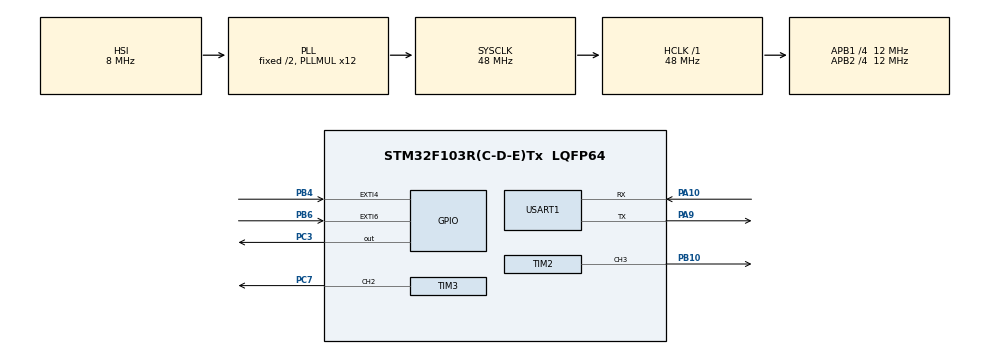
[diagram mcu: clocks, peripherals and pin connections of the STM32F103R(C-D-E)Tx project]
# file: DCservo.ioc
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Mcu.Family=STM32F1
Mcu.Name=STM32F103R(C-D-E)Tx
Mcu.Package=LQFP64
NVIC.EXTI4_IRQn=true\:0\:0\:false\:false\:true\:true\:true
NVIC.EXTI9_5_IRQn=true\:0\:0\:false\:false\:true\:true\:true
NVIC.PriorityGroup=NVIC_PRIORITYGROUP_4
NVIC.TIM4_IRQn=true\:0\:0\:false\:false\:true\:true\:true
NVIC.TIM5_IRQn=true\:0\:0\:false\:false\:true\:true\:true
NVIC.USART1_IRQn=true\:0\:0\:false\:false\:true\:true\:true
PA10.Mode=Asynchronous
PA10.Signal=USART1_RX
PA13.Mode=Serial_Wire
PA13.Signal=SYS_JTMS-SWDIO
PA14.Mode=Serial_Wire
PA14.Signal=SYS_JTCK-SWCLK
PA9.Mode=Asynchronous
PA9.Signal=USART1_TX
PB10.Signal=S_TIM2_CH3
PB4.GPIO_ModeDefaultEXTI=GPIO_MODE_IT_RISING_FALLING
PB4.GPIO_PuPd=GPIO_PULLUP
PB4.Signal=GPXTI4
PB6.GPIO_ModeDefaultEXTI=GPIO_MODE_IT_RISING_FALLING
PB6.GPIO_PuPd=GPIO_PULLUP
PB6.Signal=GPXTI6
PC3.GPIO_PuPd=GPIO_NOPULL
PC3.Signal=GPIO_Output
PC7.Signal=S_TIM3_CH2
ProjectManager.HeapSize=0x200
ProjectManager.StackSize=0x400
ProjectManager.TargetToolchain=MDK-ARM V5
RCC.AHBFreq_Value=48000000
RCC.APB1CLKDivider=RCC_HCLK_DIV4
RCC.APB1Freq_Value=12000000
RCC.APB1TimFreq_Value=24000000
RCC.APB2CLKDivider=RCC_HCLK_DIV4
RCC.APB2Freq_Value=12000000
RCC.APB2TimFreq_Value=24000000
RCC.HCLKFreq_Value=48000000
RCC.PLLMUL=RCC_PLL_MUL12
RCC.SYSCLKFreq_VALUE=48000000
RCC.SYSCLKSource=RCC_SYSCLKSOURCE_PLLCLK
RCC.USBFreq_Value=48000000
SH.S_TIM2_CH3.0=TIM2_CH3,PWM Generation3 CH3
SH.S_TIM3_CH2.0=TIM3_CH2,PWM Generation2 CH2
TIM2.Channel-PWM\ Generation3\ CH3=TIM_CHANNEL_3
TIM2.Period=100
TIM2.Prescaler=11
TIM3.Channel-PWM\ Generation2\ CH2=TIM_CHANNEL_2
TIM3.Period=100
TIM3.Prescaler=11
TIM4.Period=4
TIM4.Prescaler=23999
TIM5.Period=9
TIM5.Prescaler=23999
USART1.VirtualMode=VM_ASYNC
VP_TIM4_VS_ClockSourceINT.Mode=Internal
VP_TIM5_VS_ClockSourceINT.Mode=Internal
board=custom

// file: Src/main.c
/*
* File: main.c
* Author: Nguyen Thi Ngoc Quyen
* Date: 05/10/2023
* Description: This file is used to control velocity by using PI controller
*/
#include "main.h"
#include "string.h"
#include "stdio.h"
#include "stdlib.h"
#include "stdbool.h"

#define pi 3.1415
#define p2r pi/1000

TIM_HandleTypeDef htim2;
TIM_HandleTypeDef htim3;
TIM_HandleTypeDef htim4;
TIM_HandleTypeDef htim5;

UART_HandleTypeDef huart1;

/* USER CODE BEGIN PV */
int32_t Cnttmp,speed;
int16_t CountValue=0,RealVel,DesiredSpeed,HILIM,LOLIM;
uint16_t CntVel;
uint8_t PreviousState,pwm,Speedmode,tick=0;
bool run=false, dir;
float CurVel;
char Rx_indx, Rx_Buffer[20],Rx_data[2];

/*parameter of PI controller*/
float DesiredVel = 0;
float err, err_reset= 0, uP, uI,uI_p, uOut;
float Kp =0.3582; //0.395
float Ki =9.606;  //8.2983
float Kb =25.147; //0.1
float Ts = 0.005; // thoi gian lay mau

int32_t uHiLim =100;
int32_t uLoLim = 0;

/* USER CODE END PV */

void SystemClock_Config(void);
static void MX_GPIO_Init(void);
static void MX_TIM2_Init(void);
static void MX_TIM3_Init(void);
static void MX_USART1_UART_Init(void);
static void MX_TIM4_Init(void);
static void MX_TIM5_Init(void);
/* USER CODE BEGIN PFP */
void HAL_TIM_MspPostInit(TIM_HandleTypeDef *htim);

struct __FILE
{
  int handle;
  /* Whatever you require here. If the only file you are using is */
  /* standard output using printf() for debugging, no file handling */
  /* is required. */
};
/* FILE is typedef’d in stdio.h. */
FILE __stdout;
int fputc(int ch, FILE *f)
{

	char tempch;
  HAL_UART_Transmit(&huart1, (uint8_t*)&ch,1,100);
		return ch;
}

/*
* Function: PIcontrol
* Description: This function is PI controller, is used to control velocity according to disired value.
* Input:
*		None
* Output:
*		None return
*/
void PIcontrol(void){

 err = DesiredVel - CurVel;
	uI = uI_p + Ki*Ts*err + Kb*Ts*err_reset;
	uI_p = uI;
	uOut= (int)(uP+uI);

	//ham chan
	 if(uOut > uHiLim)
	 {
		 err_reset = uHiLim - uOut;
		 uOut = uHiLim;
	 }
	 else if(uOut < uLoLim)
	 {
		 err_reset = uLoLim - uOut;
		 uOut = uLoLim;
	 }
	 //ham run dong co
	 if(uOut >0)
	 {
		 HAL_GPIO_WritePin(GPIOC, GPIO_PIN_3, GPIO_PIN_SET);
		 __HAL_TIM_SetCompare(&htim3,TIM_CHANNEL_2,uOut);

	}
	else if(uOut <0)
	{
		HAL_GPIO_WritePin(GPIOC, GPIO_PIN_3, GPIO_PIN_SET);
		__HAL_TIM_SetCompare(&htim3,TIM_CHANNEL_2,-uOut);
	}
	else
	{
		HAL_GPIO_WritePin(GPIOC, GPIO_PIN_3, GPIO_PIN_SET);
		__HAL_TIM_SetCompare(&htim3,TIM_CHANNEL_2,00);
	}
}
/*
* Function: HAL_UART_RxCpltCallback
* Description: This function is used to communicate with RS232-USB, receive velocity value from GUI to calulate.
* Input:
*		huart - type uart that you use
* Output:
*		none
*/
void HAL_UART_RxCpltCallback(UART_HandleTypeDef *huart){
		uint8_t i;
		if(huart->Instance == USART1) //uart1
		{
				if(Rx_indx==0) {for (i=0;i<20;i++) Rx_Buffer[i] = 0;}

		switch(Rx_data[0]) {
            /* dung dong co */
            case 'e':
                run =false;
                break;
            /* dong co chay */
            case 'r':
                run = true;
                break;
            case 'b':
//		reset();
		break;
            case 'v':
                DesiredSpeed = atoi(Rx_Buffer); //nhan tu C#, Pos = 10rpm
		DesiredVel = DesiredSpeed*2*3.1415/60; //tuwf rpm sang rad/s
                memset(Rx_Buffer, 0, sizeof(Rx_Buffer));
                Rx_indx = 0;
                break;
            case '0':
            case '1':
            case '2':
            case '3':
            case '4':
            case '5':
            case '6':
            case '7':
            case '8':
            case '9':
            case '.':
            case '-':
                Rx_Buffer[Rx_indx++] |= Rx_data[0];
                break;
            default:
                break;
        }
		HAL_UART_Receive_IT(&huart1,(uint8_t*)Rx_data,1);
		}
	}

/*
* Function: EXTI9_5_IRQHandler
* Description: This function is used to read pulse of motor in 4x mode with line 6
* Input:
*		none
* Output:
*		none
*/
void EXTI9_5_IRQHandler(void){
  /* USER CODE BEGIN EXTI9_5_IRQn 0 */
unsigned char State0;
	State0 = (State0<<1) | HAL_GPIO_ReadPin(GPIOB, GPIO_PIN_4);
	State0 = (State0<<1) | HAL_GPIO_ReadPin(GPIOB, GPIO_PIN_6);
	State0 = State0&0x03;
	switch (State0) {
	case 0:
		if(PreviousState==1) CountValue++;
		else CountValue--;
		break;
	case 1:
		if(PreviousState==3) CountValue++;
		else CountValue--;
		break;
	case 2:
		if(PreviousState==0) CountValue++;
		else CountValue--;
		break;
	case 3:
		if(PreviousState==2) CountValue++;
		else CountValue--;
		break;
	}
	PreviousState = State0;
	CntVel++;
	if (CountValue>=2000) {
		CountValue = 0;
	}
	else if	(CountValue<=-2000) {
		CountValue = 0;
	}
  /* USER CODE END EXTI4_IRQn 0 */
  HAL_GPIO_EXTI_IRQHandler(GPIO_PIN_6);
  /* USER CODE BEGIN EXTI4_IRQn 1 */
}

/**
* @brief This function handles EXTI line3 interrupt.
*/
/*
* Function: EXTI4_IRQHandler
* Description: This function is used to read pulse of motor in 4x mode with line 4
* Input:
*		none
* Output:
*		none
*/
void EXTI4_IRQHandler(void){
  /* USER CODE BEGIN EXTI4_IRQn 0 */
	// CHANNEL A
unsigned char State1;
	State1 = (State1<<1) | HAL_GPIO_ReadPin(GPIOB, GPIO_PIN_4);
	State1 = (State1<<1) | HAL_GPIO_ReadPin(GPIOB, GPIO_PIN_6);
	State1 = State1&0x03;
	switch (State1) {
	case 0:
		if(PreviousState==1) CountValue++;
		else CountValue--;
		break;
	case 1:
		if(PreviousState==3) CountValue++;
		else CountValue--;
		break;
	case 2:
		if(PreviousState==0) CountValue++;
		else CountValue--;
		break;
	case 3:
		if(PreviousState==2) CountValue++;
		else CountValue--;
		break;
	}
	PreviousState = State1;
	CntVel++;
	if (CountValue>=2000) {
		CountValue = 0;
	}
	else if	(CountValue<=-2000) {
		CountValue = 0;
	}
  /* USER CODE END EXTI3_IRQn 0 */
  HAL_GPIO_EXTI_IRQHandler(GPIO_PIN_4);
}
/*
* Function: HAL_TIM_PeriodElapsedCallback
* Description: This function is used to caculate velocity and plot velocity of motor on uart
* Input:
*		htim - reference to type timer (4,5 depend on function)
* Output:
*		none return
*/
void HAL_TIM_PeriodElapsedCallback(TIM_HandleTypeDef *htim) {	// ngat timer 4 tinh van toc
	if(htim->Instance==TIM4)	// ngat do timer 4	5ms
	{
		Cnttmp = CntVel;
		CntVel = 0;
		RealVel = (Cnttmp*60)/(Ts*2000);										//RPM
		CurVel = Cnttmp*2*pi/10;								//rad/s
		PIcontrol();
		return;
	}
	if(htim->Instance==TIM5)//timer5 1ms
	{
			tick++;
			if ((run==1)&&(tick==5)){
				tick=0;
				printf("V%d\r \n",RealVel);
			}
	}

}
/* USER CODE END 0 */

int main(void)
{

  /* MCU Configuration--------------------------------------------------------*/

  /* Reset of all peripherals, Initializes the Flash interface and the Systick. */
  HAL_Init();

  /* Configure the system clock */
  SystemClock_Config();

  /* Initialize all configured peripherals */
  MX_GPIO_Init();
  MX_TIM2_Init();
  MX_TIM3_Init();
  MX_USART1_UART_Init();
  MX_TIM4_Init();
  MX_TIM5_Init();
  /* USER CODE BEGIN 2 */
	HAL_TIM_PWM_Start(&htim2, TIM_CHANNEL_3);	// khoi tao timer 2
	HAL_TIM_PWM_Start(&htim3, TIM_CHANNEL_2);	// khoi tao timer 3
	HAL_TIM_Base_Start_IT(&htim4);						// khoi tao timer 4
	HAL_TIM_Base_Start_IT(&htim5);						// khoi tao timer 5
	HAL_UART_Receive_IT(&huart1,(uint8_t*)Rx_data,1);
  /* USER CODE END 2 */

  /* Infinite loop */
  while (1)
  {

  }
}

void SystemClock_Config(void)
{
  RCC_OscInitTypeDef RCC_OscInitStruct = {0};
  RCC_ClkInitTypeDef RCC_ClkInitStruct = {0};

  /**Initializes the CPU, AHB and APB busses clocks
  */
  RCC_OscInitStruct.OscillatorType = RCC_OSCILLATORTYPE_HSI;
  RCC_OscInitStruct.HSIState = RCC_HSI_ON;
  RCC_OscInitStruct.HSICalibrationValue = RCC_HSICALIBRATION_DEFAULT;
  RCC_OscInitStruct.PLL.PLLState = RCC_PLL_ON;
  RCC_OscInitStruct.PLL.PLLSource = RCC_PLLSOURCE_HSI_DIV2;
  RCC_OscInitStruct.PLL.PLLMUL = RCC_PLL_MUL12;
  if (HAL_RCC_OscConfig(&RCC_OscInitStruct) != HAL_OK)
  {
    Error_Handler();
  }
  /**Initializes the CPU, AHB and APB busses clocks
  */
  RCC_ClkInitStruct.ClockType = RCC_CLOCKTYPE_HCLK|RCC_CLOCKTYPE_SYSCLK
                              |RCC_CLOCKTYPE_PCLK1|RCC_CLOCKTYPE_PCLK2;
  RCC_ClkInitStruct.SYSCLKSource = RCC_SYSCLKSOURCE_PLLCLK;
  RCC_ClkInitStruct.AHBCLKDivider = RCC_SYSCLK_DIV1;
  RCC_ClkInitStruct.APB1CLKDivider = RCC_HCLK_DIV4;
  RCC_ClkInitStruct.APB2CLKDivider = RCC_HCLK_DIV4;

  if (HAL_RCC_ClockConfig(&RCC_ClkInitStruct, FLASH_LATENCY_1) != HAL_OK)
  {
    Error_Handler();
  }
}

static void MX_TIM2_Init(void)
{

  TIM_MasterConfigTypeDef sMasterConfig = {0};
  TIM_OC_InitTypeDef sConfigOC = {0};

  htim2.Instance = TIM2;
  htim2.Init.Prescaler = 11;
  htim2.Init.CounterMode = TIM_COUNTERMODE_UP;
  htim2.Init.Period = 100;
  htim2.Init.ClockDivision = TIM_CLOCKDIVISION_DIV1;
  htim2.Init.AutoReloadPreload = TIM_AUTORELOAD_PRELOAD_DISABLE;
  if (HAL_TIM_PWM_Init(&htim2) != HAL_OK)
  {
    Error_Handler();
  }
  sMasterConfig.MasterOutputTrigger = TIM_TRGO_RESET;
  sMasterConfig.MasterSlaveMode = TIM_MASTERSLAVEMODE_DISABLE;
  if (HAL_TIMEx_MasterConfigSynchronization(&htim2, &sMasterConfig) != HAL_OK)
  {
    Error_Handler();
  }
  sConfigOC.OCMode = TIM_OCMODE_PWM1;
  sConfigOC.Pulse = 0;
  sConfigOC.OCPolarity = TIM_OCPOLARITY_HIGH;
  sConfigOC.OCFastMode = TIM_OCFAST_DISABLE;
  if (HAL_TIM_PWM_ConfigChannel(&htim2, &sConfigOC, TIM_CHANNEL_3) != HAL_OK)
  {
    Error_Handler();
  }
  HAL_TIM_MspPostInit(&htim2);

}

static void MX_TIM3_Init(void)
{

  TIM_MasterConfigTypeDef sMasterConfig = {0};
  TIM_OC_InitTypeDef sConfigOC = {0};

  htim3.Instance = TIM3;
  htim3.Init.Prescaler = 11;
  htim3.Init.CounterMode = TIM_COUNTERMODE_UP;
  htim3.Init.Period = 100;
  htim3.Init.ClockDivision = TIM_CLOCKDIVISION_DIV1;
  htim3.Init.AutoReloadPreload = TIM_AUTORELOAD_PRELOAD_DISABLE;
  if (HAL_TIM_PWM_Init(&htim3) != HAL_OK)
  {
    Error_Handler();
  }
  sMasterConfig.MasterOutputTrigger = TIM_TRGO_RESET;
  sMasterConfig.MasterSlaveMode = TIM_MASTERSLAVEMODE_DISABLE;
  if (HAL_TIMEx_MasterConfigSynchronization(&htim3, &sMasterConfig) != HAL_OK)
  {
    Error_Handler();
  }
  sConfigOC.OCMode = TIM_OCMODE_PWM1;
  sConfigOC.Pulse = 0;
  sConfigOC.OCPolarity = TIM_OCPOLARITY_HIGH;
  sConfigOC.OCFastMode = TIM_OCFAST_DISABLE;
  if (HAL_TIM_PWM_ConfigChannel(&htim3, &sConfigOC, TIM_CHANNEL_2) != HAL_OK)
  {
    Error_Handler();
  }
  HAL_TIM_MspPostInit(&htim3);

}

static void MX_TIM4_Init(void)
{

  TIM_ClockConfigTypeDef sClockSourceConfig = {0};
  TIM_MasterConfigTypeDef sMasterConfig = {0};

  htim4.Instance = TIM4;
  htim4.Init.Prescaler = 23999;
  htim4.Init.CounterMode = TIM_COUNTERMODE_UP;
  htim4.Init.Period = 4;
  htim4.Init.ClockDivision = TIM_CLOCKDIVISION_DIV1;
  htim4.Init.AutoReloadPreload = TIM_AUTORELOAD_PRELOAD_DISABLE;
  if (HAL_TIM_Base_Init(&htim4) != HAL_OK)
  {
    Error_Handler();
  }
  sClockSourceConfig.ClockSource = TIM_CLOCKSOURCE_INTERNAL;
  if (HAL_TIM_ConfigClockSource(&htim4, &sClockSourceConfig) != HAL_OK)
  {
    Error_Handler();
  }
  sMasterConfig.MasterOutputTrigger = TIM_TRGO_RESET;
  sMasterConfig.MasterSlaveMode = TIM_MASTERSLAVEMODE_DISABLE;
  if (HAL_TIMEx_MasterConfigSynchronization(&htim4, &sMasterConfig) != HAL_OK)
  {
    Error_Handler();
  }

}

static void MX_TIM5_Init(void)
{

  TIM_ClockConfigTypeDef sClockSourceConfig = {0};
  TIM_MasterConfigTypeDef sMasterConfig = {0};

  htim5.Instance = TIM5;
  htim5.Init.Prescaler = 23999;
  htim5.Init.CounterMode = TIM_COUNTERMODE_UP;
  htim5.Init.Period = 9;
  htim5.Init.ClockDivision = TIM_CLOCKDIVISION_DIV1;
  htim5.Init.AutoReloadPreload = TIM_AUTORELOAD_PRELOAD_DISABLE;
  if (HAL_TIM_Base_Init(&htim5) != HAL_OK)
  {
    Error_Handler();
  }
  sClockSourceConfig.ClockSource = TIM_CLOCKSOURCE_INTERNAL;
  if (HAL_TIM_ConfigClockSource(&htim5, &sClockSourceConfig) != HAL_OK)
  {
    Error_Handler();
  }
  sMasterConfig.MasterOutputTrigger = TIM_TRGO_RESET;
  sMasterConfig.MasterSlaveMode = TIM_MASTERSLAVEMODE_DISABLE;
  if (HAL_TIMEx_MasterConfigSynchronization(&htim5, &sMasterConfig) != HAL_OK)
  {
    Error_Handler();
  }

}

static void MX_USART1_UART_Init(void)
{

  huart1.Instance = USART1;
  huart1.Init.BaudRate = 115200;
  huart1.Init.WordLength = UART_WORDLENGTH_8B;
  huart1.Init.StopBits = UART_STOPBITS_1;
  huart1.Init.Parity = UART_PARITY_NONE;
  huart1.Init.Mode = UART_MODE_TX_RX;
  huart1.Init.HwFlowCtl = UART_HWCONTROL_NONE;
  huart1.Init.OverSampling = UART_OVERSAMPLING_16;
  if (HAL_UART_Init(&huart1) != HAL_OK)
  {
    Error_Handler();
  }

}

static void MX_GPIO_Init(void)
{
  GPIO_InitTypeDef GPIO_InitStruct = {0};

  /* GPIO Ports Clock Enable */
  __HAL_RCC_GPIOC_CLK_ENABLE();
  __HAL_RCC_GPIOB_CLK_ENABLE();
  __HAL_RCC_GPIOA_CLK_ENABLE();

  /*Configure GPIO pin Output Level */
  HAL_GPIO_WritePin(GPIOC, GPIO_PIN_3, GPIO_PIN_RESET);

  /*Configure GPIO pin : PC3 */
  GPIO_InitStruct.Pin = GPIO_PIN_3;
  GPIO_InitStruct.Mode = GPIO_MODE_OUTPUT_PP;
  GPIO_InitStruct.Pull = GPIO_NOPULL;
  GPIO_InitStruct.Speed = GPIO_SPEED_FREQ_LOW;
  HAL_GPIO_Init(GPIOC, &GPIO_InitStruct);

  /*Configure GPIO pins : PB4 PB6 */
  GPIO_InitStruct.Pin = GPIO_PIN_4|GPIO_PIN_6;
  GPIO_InitStruct.Mode = GPIO_MODE_IT_RISING_FALLING;
  GPIO_InitStruct.Pull = GPIO_PULLUP;
  HAL_GPIO_Init(GPIOB, &GPIO_InitStruct);

  /* EXTI interrupt init*/
  HAL_NVIC_SetPriority(EXTI4_IRQn, 0, 0);
  HAL_NVIC_EnableIRQ(EXTI4_IRQn);

  HAL_NVIC_SetPriority(EXTI9_5_IRQn, 0, 0);
  HAL_NVIC_EnableIRQ(EXTI9_5_IRQn);

}

void Error_Handler(void)
{
}

/************************ (C) COPYRIGHT STMicroelectronics *****END OF FILE****/
